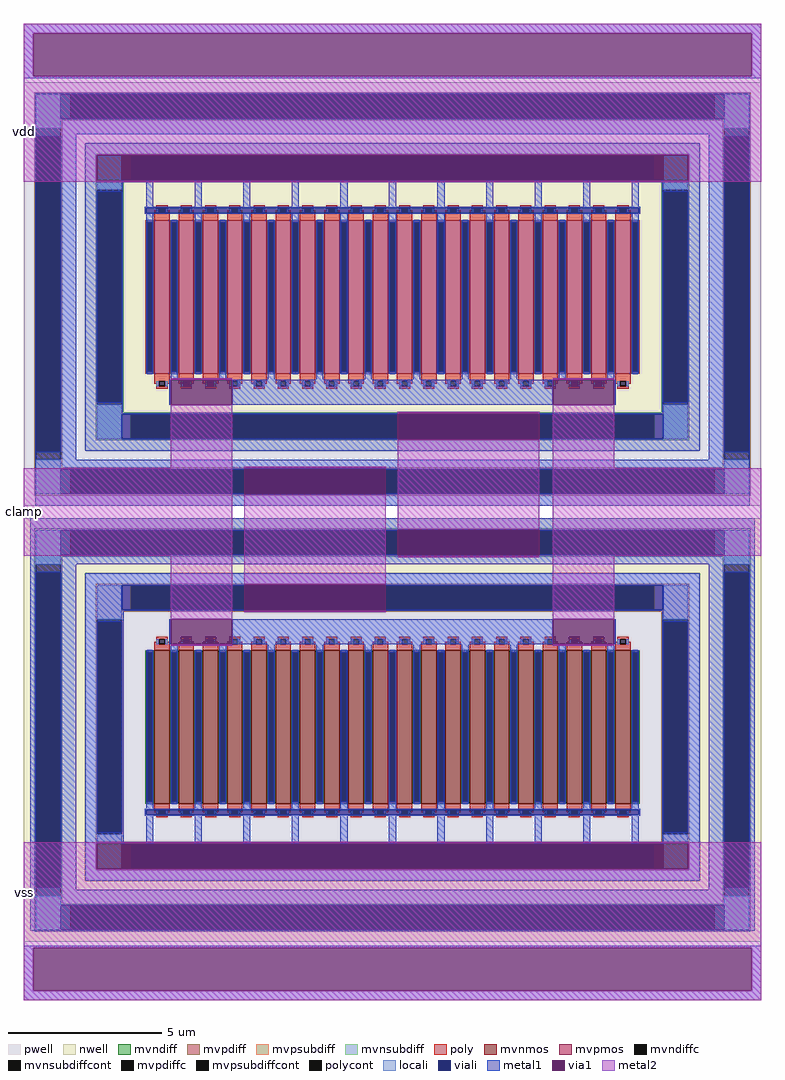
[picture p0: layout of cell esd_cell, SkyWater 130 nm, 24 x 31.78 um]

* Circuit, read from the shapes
.subckt esd_cell clamp vdd vss
XM1 clamp vss vss vss sky130_fd_pr__nfet_g5v0d10v5 w=5 l=0.5 m=20
XM2 clamp vdd vdd vdd sky130_fd_pr__pfet_g5v0d10v5 w=5 l=0.5 m=20
.ends

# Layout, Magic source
magic
tech sky130A
magscale 1 2
<< nwell >>
rect -2000 400 2000 2400
rect -2400 -400 2400 -40
rect -2400 -2400 -2000 -400
rect 2000 -2400 2400 -400
rect -2400 -2800 2400 -2400
<< pwell >>
rect -2400 2400 2400 2800
rect -2400 400 -2000 2400
rect 2000 400 2400 2400
rect -2400 40 2400 400
rect -2000 -2400 2000 -400
<< mvpsubdiff >>
rect -2334 2722 2334 2734
rect -2334 2562 -2100 2722
rect 2100 2562 2334 2722
rect -2334 2550 2334 2562
rect -2334 2500 -2150 2550
rect -2334 340 -2322 2500
rect -2162 340 -2150 2500
rect 2150 2500 2334 2550
rect -2334 290 -2150 340
rect 2150 340 2162 2500
rect 2322 340 2334 2500
rect 2150 290 2334 340
rect -2334 278 2334 290
rect -2334 118 -2100 278
rect 2100 118 2334 278
rect -2334 106 2334 118
rect -1934 -478 1934 -466
rect -1934 -638 -1700 -478
rect 1700 -638 1934 -478
rect -1934 -650 1934 -638
rect -1934 -700 -1750 -650
rect -1934 -2100 -1922 -700
rect -1762 -2100 -1750 -700
rect -1934 -2150 -1750 -2100
rect 1750 -700 1934 -650
rect 1750 -2100 1762 -700
rect 1922 -2100 1934 -700
rect 1750 -2150 1934 -2100
rect -1934 -2162 1934 -2150
rect -1934 -2322 -1700 -2162
rect 1700 -2322 1934 -2162
rect -1934 -2334 1934 -2322
<< mvnsubdiff >>
rect -1934 2322 1934 2334
rect -1934 2162 -1700 2322
rect 1700 2162 1934 2322
rect -1934 2150 1934 2162
rect -1934 2100 -1750 2150
rect -1934 700 -1922 2100
rect -1762 700 -1750 2100
rect -1934 650 -1750 700
rect 1750 2100 1934 2150
rect 1750 700 1762 2100
rect 1922 700 1934 2100
rect 1750 650 1934 700
rect -1934 638 1934 650
rect -1934 478 -1700 638
rect 1700 478 1934 638
rect -1934 466 1934 478
rect -2334 -118 2334 -106
rect -2334 -278 -2100 -118
rect 2100 -278 2334 -118
rect -2334 -290 2334 -278
rect -2334 -340 -2150 -290
rect -2334 -2500 -2322 -340
rect -2162 -2500 -2150 -340
rect 2150 -340 2334 -290
rect -2334 -2550 -2150 -2500
rect 2150 -2500 2162 -340
rect 2322 -2500 2334 -340
rect 2150 -2550 2334 -2500
rect -2334 -2562 2334 -2550
rect -2334 -2722 -2100 -2562
rect 2100 -2722 2334 -2562
rect -2334 -2734 2334 -2722
<< mvpsubdiffcont >>
rect -2100 2562 2100 2722
rect -2322 340 -2162 2500
rect 2162 340 2322 2500
rect -2100 118 2100 278
rect -1700 -638 1700 -478
rect -1922 -2100 -1762 -700
rect 1762 -2100 1922 -700
rect -1700 -2322 1700 -2162
<< mvnsubdiffcont >>
rect -1700 2162 1700 2322
rect -1922 700 -1762 2100
rect 1762 700 1922 2100
rect -1700 478 1700 638
rect -2100 -278 2100 -118
rect -2322 -2500 -2162 -340
rect 2162 -2500 2322 -340
rect -2100 -2722 2100 -2562
<< locali >>
rect -2322 2500 -2162 2722
rect 2162 2500 2322 2722
rect -1922 2100 -1762 2322
rect 1762 2100 1922 2322
rect -1922 478 -1762 700
rect 1762 478 1922 700
rect -2322 118 -2162 340
rect 2162 118 2322 340
rect -2322 -340 -2162 -118
rect 2162 -340 2322 -118
rect -1922 -700 -1762 -478
rect 1762 -700 1922 -478
rect -1922 -2322 -1762 -2100
rect 1762 -2322 1922 -2100
rect -2322 -2722 -2162 -2500
rect 2162 -2722 2322 -2500
<< viali >>
rect -2162 2562 -2100 2722
rect -2100 2562 2100 2722
rect 2100 2562 2162 2722
rect -2322 392 -2162 2448
rect -1762 2162 -1700 2322
rect -1700 2162 1700 2322
rect 1700 2162 1762 2322
rect -1922 714 -1762 2086
rect -1603 1947 1603 1981
rect 1762 714 1922 2086
rect -1762 478 -1700 638
rect -1700 478 1700 638
rect 1700 478 1762 638
rect 2162 392 2322 2448
rect -2162 118 -2100 278
rect -2100 118 2100 278
rect 2100 118 2162 278
rect -2162 -278 -2100 -118
rect -2100 -278 2100 -118
rect 2100 -278 2162 -118
rect -2322 -2448 -2162 -392
rect -1762 -638 -1700 -478
rect -1700 -638 1700 -478
rect 1700 -638 1762 -478
rect -1922 -2086 -1762 -714
rect -1603 -1972 1603 -1938
rect 1762 -2086 1922 -714
rect -1762 -2322 -1700 -2162
rect -1700 -2322 1700 -2162
rect 1700 -2322 1762 -2162
rect 2162 -2448 2322 -392
rect -2162 -2722 -2100 -2562
rect -2100 -2722 2100 -2562
rect 2100 -2722 2162 -2562
<< metal1 >>
rect -2400 3118 2400 3178
rect -2400 2838 -2340 3118
rect 2340 2838 2400 3118
rect -2400 2824 2400 2838
rect -2328 2722 2328 2728
rect -2328 2562 -2162 2722
rect 2162 2562 2328 2722
rect -2328 2460 2328 2562
rect -2328 2448 -2060 2460
rect -2328 392 -2322 2448
rect -2162 392 -2060 2448
rect 2061 2448 2328 2460
rect -2000 2328 2000 2400
rect -2000 2156 -1928 2328
rect 1928 2156 2000 2328
rect -2000 2086 -1756 2156
rect -2000 714 -1922 2086
rect -1762 714 -1756 2086
rect -1603 1987 -1557 2156
rect -1287 1987 -1241 2156
rect -971 1987 -925 2156
rect -655 1987 -609 2156
rect -339 1987 -293 2156
rect -23 1987 23 2156
rect 293 1987 339 2156
rect 609 1987 655 2156
rect 925 1987 971 2156
rect 1241 1987 1287 2156
rect 1557 1987 1603 2156
rect 1756 2086 2000 2156
rect -1615 1981 1615 1987
rect -1615 1947 -1603 1981
rect 1603 1947 1615 1981
rect -1615 1941 1615 1947
rect -1603 1900 -1557 1941
rect -1287 1900 -1241 1941
rect -971 1900 -925 1941
rect -655 1900 -609 1941
rect -339 1900 -293 1941
rect -23 1900 23 1941
rect 293 1900 339 1941
rect 609 1900 655 1941
rect 925 1900 971 1941
rect 1241 1900 1287 1941
rect 1557 1900 1603 1941
rect -1445 860 -1399 900
rect -1129 860 -1083 900
rect -813 860 -767 900
rect -497 860 -451 900
rect -181 860 -135 900
rect 135 860 181 900
rect 451 860 497 900
rect 767 860 813 900
rect 1083 860 1129 900
rect 1399 860 1445 900
rect -2000 644 -1756 714
rect -1455 700 -1445 860
rect -1045 700 1045 860
rect 1445 700 1455 860
rect 1756 714 1762 2086
rect 1922 714 2000 2086
rect 1756 644 2000 714
rect -2000 638 35 644
rect 955 638 2000 644
rect -2000 478 -1762 638
rect 1762 478 2000 638
rect -2000 472 35 478
rect 955 472 2000 478
rect -2000 400 2000 472
rect -2328 340 -2060 392
rect 2061 392 2162 2448
rect 2322 392 2328 2448
rect 2061 340 2328 392
rect -2328 284 2328 340
rect -2328 278 -965 284
rect -45 278 2328 284
rect -2328 118 -2162 278
rect 2162 118 2328 278
rect -2328 112 -965 118
rect -45 112 2328 118
rect -2328 40 2328 112
rect -2360 -112 2360 -40
rect -2360 -118 35 -112
rect 955 -118 2360 -112
rect -2360 -278 -2162 -118
rect 2162 -278 2360 -118
rect -2360 -284 35 -278
rect 955 -284 2360 -278
rect -2360 -340 2360 -284
rect -2360 -392 -2060 -340
rect -2360 -2448 -2322 -392
rect -2162 -2448 -2060 -392
rect 2060 -392 2360 -340
rect -2000 -472 2000 -400
rect -2000 -478 -965 -472
rect -45 -478 2000 -472
rect -2000 -638 -1762 -478
rect 1762 -638 2000 -478
rect -2000 -644 -965 -638
rect -45 -644 2000 -638
rect -2000 -714 -1750 -644
rect -2000 -2086 -1922 -714
rect -1762 -2086 -1750 -714
rect -1455 -860 -1445 -700
rect -1045 -860 1045 -700
rect 1445 -860 1455 -700
rect 1756 -714 2000 -644
rect -1445 -900 -1399 -860
rect -1129 -900 -1083 -860
rect -813 -900 -767 -860
rect -497 -900 -451 -860
rect -181 -900 -135 -860
rect 135 -900 181 -860
rect 451 -900 497 -860
rect 767 -900 813 -860
rect 1083 -900 1129 -860
rect 1399 -900 1445 -860
rect -1603 -1932 -1557 -1900
rect -1287 -1932 -1241 -1900
rect -971 -1932 -925 -1900
rect -655 -1932 -609 -1900
rect -339 -1932 -293 -1900
rect -23 -1932 23 -1900
rect 293 -1932 339 -1900
rect 609 -1932 655 -1900
rect 925 -1932 971 -1900
rect 1241 -1932 1287 -1900
rect 1557 -1932 1603 -1900
rect -1615 -1938 1615 -1932
rect -1615 -1972 -1603 -1938
rect 1603 -1972 1615 -1938
rect -1615 -1978 1615 -1972
rect -2000 -2156 -1750 -2086
rect -1603 -2156 -1557 -1978
rect -1287 -2156 -1241 -1978
rect -971 -2156 -925 -1978
rect -655 -2156 -609 -1978
rect -339 -2156 -293 -1978
rect -23 -2156 23 -1978
rect 293 -2156 339 -1978
rect 609 -2156 655 -1978
rect 925 -2156 971 -1978
rect 1241 -2156 1287 -1978
rect 1557 -2156 1603 -1978
rect 1756 -2086 1762 -714
rect 1922 -2086 2000 -714
rect 1756 -2156 2000 -2086
rect -2000 -2328 -1928 -2156
rect 1928 -2328 2000 -2156
rect -2000 -2400 2000 -2328
rect -2360 -2460 -2060 -2448
rect 2060 -2448 2162 -392
rect 2322 -2448 2360 -392
rect 2060 -2460 2360 -2448
rect -2360 -2562 2360 -2460
rect -2360 -2722 -2162 -2562
rect 2162 -2722 2360 -2562
rect -2360 -2728 2360 -2722
rect -2400 -2838 2400 -2825
rect -2400 -3118 -2340 -2838
rect 2340 -3118 2400 -2838
rect -2400 -3178 2400 -3118
<< via1 >>
rect -2340 2838 2340 3118
rect -1928 2322 1928 2328
rect -1928 2162 -1762 2322
rect -1762 2162 1762 2322
rect 1762 2162 1928 2322
rect -1928 2156 1928 2162
rect -1445 700 -1045 860
rect 1045 700 1445 860
rect 35 638 955 644
rect 35 478 955 638
rect 35 472 955 478
rect -965 278 -45 284
rect -965 118 -45 278
rect -965 112 -45 118
rect 35 -118 955 -112
rect 35 -278 955 -118
rect 35 -284 955 -278
rect -965 -478 -45 -472
rect -965 -638 -45 -478
rect -965 -644 -45 -638
rect -1445 -860 -1045 -700
rect 1045 -860 1445 -700
rect -1928 -2162 1928 -2156
rect -1928 -2322 -1762 -2162
rect -1762 -2322 1762 -2162
rect 1762 -2322 1928 -2162
rect -1928 -2328 1928 -2322
rect -2340 -3118 2340 -2838
<< metal2 >>
rect -2400 3118 2400 3178
rect -2400 2838 -2340 3118
rect 2340 2838 2400 3118
rect -2400 2328 2400 2838
rect -2400 2156 -1928 2328
rect 1928 2156 2400 2328
rect -2400 2150 2400 2156
rect -1928 2146 1928 2150
rect -1445 860 -1045 870
rect -1445 284 -1045 700
rect 1045 860 1445 870
rect 35 644 955 654
rect -2400 -284 -1045 284
rect -1445 -700 -1045 -284
rect -965 284 -45 294
rect -965 -472 -45 112
rect 35 -112 955 472
rect 35 -294 955 -284
rect 1045 284 1445 700
rect 1045 -284 2400 284
rect -965 -654 -45 -644
rect -1445 -870 -1045 -860
rect 1045 -700 1445 -284
rect 1045 -870 1445 -860
rect -1928 -2150 1928 -2146
rect -2400 -2156 2400 -2150
rect -2400 -2328 -1928 -2156
rect 1928 -2328 2400 -2156
rect -2400 -2838 2400 -2328
rect -2400 -3118 -2340 -2838
rect 2340 -3118 2400 -2838
rect -2400 -3178 2400 -3118
use sky130_fd_pr__pfet_g5v0d10v5_Q5DL9H  xm2
transform 1 0 0 0 1 1400
box -1675 -600 1675 600
use sky130_fd_pr__nfet_g5v0d10v5_ZGGKXL  xm1
transform 1 0 0 0 1 -1400
box -1609 -588 1609 588
<< labels >>
flabel metal2 -2400 -2800 -2397 -2150 3 FreeSans 400 0 0 0 vss
port 3 e
flabel metal2 -2400 2150 -2397 2800 3 FreeSans 400 0 0 0 vdd
port 2 e
flabel metal2 -2400 -284 -2397 284 3 FreeSans 400 0 0 0 clamp
port 1 e
<< properties >>
string FIXED_BBOX -1842 -2242 1842 -558
<< end >>

# cell sky130_fd_pr__pfet_g5v0d10v5_Q5DL9H: kit device sky130_fd_pr__pfet_g5v0d10v5, w 5 l 0.5 m 1 nf 20 diffcov 100 polycov 60 guard 0 glc 1 grc 1 gtc 1 gbc 1 tbcov 100 rlcov 100 topc 1 botc 1 poverlap 0 doverlap 1 lmin 0.50 wmin 0.42 compatible {sky130_fd_pr__pfet_01v8 sky130_fd_pr__pfet_01v8_lvt sky130_fd_pr__pfet_01v8_hvt sky130_fd_pr__pfet_g5v0d10v5} full_metal 0 viasrc 100 viadrn 100 viagate 0 viagb 0 viagr 0 viagl 0 viagt 0

# cell sky130_fd_pr__nfet_g5v0d10v5_ZGGKXL: kit device sky130_fd_pr__nfet_g5v0d10v5, w 5 l 0.5 m 1 nf 20 diffcov 100 polycov 60 guard 0 glc 1 grc 1 gtc 1 gbc 1 tbcov 100 rlcov 100 topc 1 botc 1 poverlap 0 doverlap 1 lmin 0.50 wmin 0.42 compatible {sky130_fd_pr__nfet_01v8 sky130_fd_pr__nfet_01v8_lvt sky130_fd_bs_flash__special_sonosfet_star sky130_fd_pr__nfet_g5v0d10v5 sky130_fd_pr__nfet_05v0_nvt sky130_fd_pr__nfet_03v3_nvt} full_metal 0 viasrc 100 viadrn 100 viagate 0 viagb 0 viagr 0 viagl 0 viagt 0
